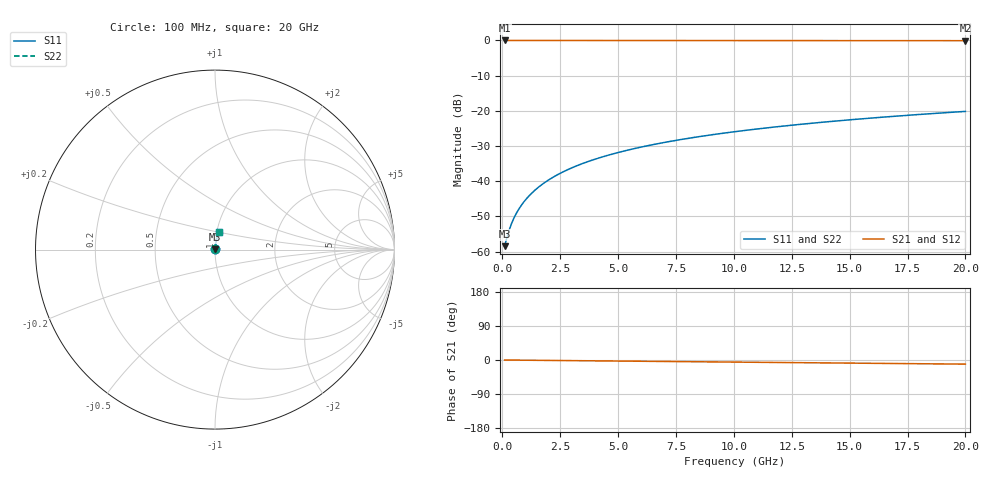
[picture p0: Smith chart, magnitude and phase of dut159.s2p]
! Touchstone file exported from HFSS 2026.1.0
!  File:  C:/ffzhzh/LocalFiles/Ansys_Project_Files/temp_train_BSMRDL_159_1782986771_41620.aedt
!  Generated:  06:07:25 PM Jul  2, 2026
!  Design:  BSMRDL
!  Project:  temp_train_BSMRDL_159_1782986771_41620
! Variables:
!  h_bsmrdl = 2.94um
!  h_ox = 20um
!  h_rdl = 5um
!  h_sub = 80um
!  h_tmrdl = 5um
!  h_tsv = 80um
!  h_via = 3um
!  l_bsmrdl = 137.31um
!  l_sub = 537.31um
!  l_tmrdl = 200um
!  m_sub = 200um
!  pitch = 38.71um
!  r_tsv = 6um
!  s_tmrdl = 10um
!  w_bsmrdl = 21.73um
!  w_sub = 500um
!  w_tmrdl = 12um
!  x_tsv_center1 = 206um
!  x_tsv_center2 = 365.04um
!  x_tsv_center3 = 577.04um
!  x_tsv_center4 = 736.08um
!  x_tsv_center5 = 948.08um
!  x_tsv_center6 = 1107.12um
# GHz S MA R 50.000000
! Terminal data exported
! Port[1] = BSM_RDL1_1_T1
! Port[2] = BSM_RDL1_1_T2
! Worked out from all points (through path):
!   200 points, 100 MHz to 20 GHz, reference 50 ohm
!   highest |S21| = -0.01 dB at 100 MHz (marker M1); lowest = -0.1 dB at 20 GHz (marker M2)
!   group delay of S21, straight-line fit = 1.51 ps
!   lowest |S11| = -58.5 dB at 100 MHz (marker M3), VSWR 1.00, Z = 50.1 + j0.0582 ohm
!   |S11| at or under -10 dB: start of sweep to end of sweep
!   |S22| runs from -58.5 to -20.2 dB; largest |S21 - S12| = 3.2e-15
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0.1  0.001194 29.1  0.999 -0.1  0.999 -0.1  0.001194 29.1
! Gamma 0 0 0 0
! Port Impedance 50 0 50 0
0.2  0.001576 46.6  0.9989 -0.1  0.9989 -0.1  0.001576 46.6
0.3  0.002031 56.1  0.9989 -0.2  0.9989 -0.2  0.002031 56.1
0.4  0.002504 61.9  0.9988 -0.2  0.9988 -0.2  0.002504 61.9
0.5  0.002982 65.8  0.9988 -0.3  0.9988 -0.3  0.002982 65.8
0.6  0.003463 68.7  0.9987 -0.3  0.9987 -0.3  0.003463 68.7
0.8  0.004434 72.7  0.9987 -0.5  0.9987 -0.5  0.004434 72.7
1  0.005416 75.4  0.9987 -0.6  0.9987 -0.6  0.005416 75.4
1.2  0.006407 77.3  0.9986 -0.7  0.9986 -0.7  0.006407 77.3
1.4  0.007405 78.6  0.9986 -0.8  0.9986 -0.8  0.007405 78.6
1.7  0.00891 80.1  0.9986 -1.0  0.9986 -1.0  0.00891 80.1
2.2  0.01143 81.6  0.9985 -1.2  0.9985 -1.2  0.01143 81.6
2.8  0.01446 82.5  0.9984 -1.6  0.9984 -1.6  0.01446 82.5
3.5  0.018 83.0  0.9983 -1.9  0.9983 -1.9  0.018 83.0
4.2  0.02153 83.2  0.9981 -2.3  0.9981 -2.3  0.02153 83.2
5  0.02555 83.3  0.9979 -2.8  0.9979 -2.8  0.02555 83.3
6.8  0.03455 82.8  0.9974 -3.8  0.9974 -3.8  0.03455 82.8
8.3  0.04197 82.3  0.9968 -4.6  0.9968 -4.6  0.04197 82.3
10.1  0.05081 81.5  0.9961 -5.6  0.9961 -5.6  0.05081 81.5
13.4  0.06679 80.0  0.9947 -7.4  0.9947 -7.4  0.06679 80.0
16.7  0.08254 78.4  0.9931 -9.1  0.9931 -9.1  0.08254 78.4
20  0.09809 76.8  0.9913 -10.9  0.9913 -10.9  0.09809 76.8
